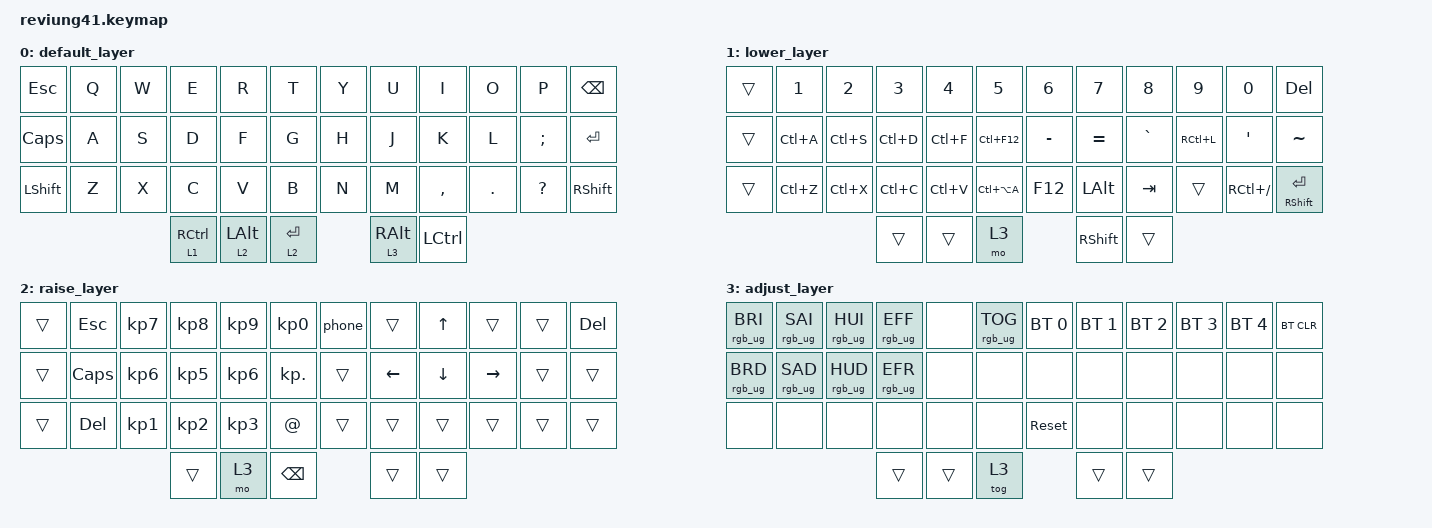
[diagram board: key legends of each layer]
/*
 * Copyright (c) 2020 The ZMK Contributors
 *
 * SPDX-License-Identifier: MIT
 */

#include <behaviors.dtsi>
#include <dt-bindings/zmk/bt.h>
#include <dt-bindings/zmk/keys.h>
#include <dt-bindings/zmk/rgb.h>

/ {
    behaviors {
        tab_esc_ctrl: tab_esc_ctrl {
            compatible = "zmk,behavior-tap-dance";
            label = "TAB_ESC_CTRL";
            #binding-cells = <0>;
            bindings = <&mt LCTRL ESC>, <&kp TAB>;
        };

        ltq: ltq {
            compatible = "zmk,behavior-hold-tap";
            label = "LTQ";
            bindings = <&mo>, <&kp>;

            #binding-cells = <2>;
            global-quick-tap;
            tapping-term-ms = <200>;
            quick-tap-ms = <180>;
        };
    };

    combos {
        compatible = "zmk,combos";

        combo1 {
            bindings = <&kp LBKT>;
            key-positions = <3 4>;
        };

        combo2 {
            bindings = <&kp RBKT>;
            key-positions = <7 8>;
        };

        combo3 {
            bindings = <&kp LEFT_PARENTHESIS>;
            key-positions = <15 16>;
        };

        combo4 {
            bindings = <&kp RIGHT_PARENTHESIS>;
            key-positions = <19 20>;
        };

        combo5 {
            bindings = <&kp LEFT_BRACE>;
            key-positions = <27 28>;
        };

        combo6 {
            bindings = <&kp RIGHT_BRACE>;
            key-positions = <31 32>;
        };

        combo7 {
            bindings = <&kp BACKSLASH>;
            key-positions = <5 6>;
        };

        combo8 {
            bindings = <&kp BACKSLASH>;
            key-positions = <17 18>;
        };
    };

    macros {
        phone: phone {
            compatible = "zmk,behavior-macro";
            label = "PHONE";
            #binding-cells = <0>;
            bindings = <&none &kp N1 &kp N5 &kp N1 &kp N5 &kp N7 &kp N8 &kp N8 &kp N2 &kp N7 &kp N7 &kp N6>;
        };
    };

    keymap {
        compatible = "zmk,keymap";

        default_layer {
            // -------------------------------------------------------------------------------------
            // |  TAB |  Q  |  W  |  E  |  R  |  T  |   |  Y  |  U   |  I  |  O  |  P  |   BKSP    |
            // | CTRL |  A  |  S  |  D  |  F  |  G  |   |  H  |  J   |  K  |  L  |  ;  |    '      |
            // | SHFT |  Z  |  X  |  C  |  V  |  B  |   |  N  |  M   |  ,  |  .  |  /  | SHFT(RET) |
            //                         | ALT | LWR | SPC | RSE  | ALT |

            bindings = <
&kp ESC       &kp Q  &kp W  &kp E        &kp R           &kp T               &kp Y  &kp U             &kp I      &kp O    &kp P         &kp BSPC
&kp CAPSLOCK  &kp A  &kp S  &kp D        &kp F           &kp G               &kp H  &kp J             &kp K      &kp L    &kp SEMI      &kp ENTER
&kp LSHFT     &kp Z  &kp X  &kp C        &kp V           &kp B               &kp N  &kp M             &kp COMMA  &kp DOT  &kp QUESTION  &kp RIGHT_SHIFT
                            &lt 1 RCTRL  &lt 2 LEFT_ALT         &lt 2 ENTER         &ltq 3 RIGHT_ALT  &kp LCTRL
            >;
        };

        lower_layer {
            // ----------------------------------------------------------------------------------
            // |    |  !  |  @  |  #  |  $  |  %  |   |  ^  |  &  |  *  |  (  |  )  |    DEL    |
            // |    |  _  |  +  |  {  |  }  | "|" |   | LFT | DWN |  UP | RGT |  `  |     ~     |
            // |    | ESC | GUI | ALT | CAPS|  "  |   | HOME| END | PGUP| PGDN| PRSC| SHFT(RET) |
            //                       |     |     | RET | ADJ |     |

            bindings = <
&trans  &kp N1     &kp N2     &kp N3     &kp N4     &kp N5                &kp N6     &kp N7           &kp N8     &kp N9     &kp N0         &kp DEL
&trans  &kp LC(A)  &kp LC(S)  &kp LC(D)  &kp LC(F)  &kp LC(F12)           &kp MINUS  &kp EQUAL        &kp GRAVE  &kp RC(L)  &kp SQT        &kp TILDE
&trans  &kp LC(Z)  &kp LC(X)  &kp LC(C)  &kp LC(V)  &kp LC(LA(A))         &kp F12    &kp LEFT_ALT     &kp TAB    &trans     &kp RC(SLASH)  &mt RSHFT RET
                              &trans     &trans                    &mo 3             &kp RIGHT_SHIFT  &trans
            >;
        };

        raise_layer {
            // -----------------------------------------------------------------------------------------
            // |    |  1  |  2  |  3  |  4  |  5  |   |  6  |  7  |  8  |  9  |  0  | DEL |
            // |    |  -  |  =  |  [  |  ]  |  \  |   | F1  | F2  | F3  | F4  | F5  | F6  |
            // |    | ESC | GUI | ALT | CAPS|  "  |   | F7  | F8  | F9  | F10 | F11 | F12 |
            //                       |     | ADJ | BKSP |    |     |

            bindings = <
&trans  &kp ESC     &kp KP_N7  &kp KP_N8  &kp KP_N9  &kp KP_N0              &phone  &trans    &kp UP    &trans     &trans  &kp DEL
&trans  &kp CAPS    &kp KP_N6  &kp KP_N5  &kp KP_N6  &kp KP_DOT             &trans  &kp LEFT  &kp DOWN  &kp RIGHT  &trans  &trans
&trans  &kp DELETE  &kp KP_N1  &kp KP_N2  &kp KP_N3  &kp AT_SIGN            &trans  &trans    &trans    &trans     &trans  &trans
                               &trans     &mo 3                   &kp BSPC          &trans    &trans
            >;
        };

        adjust_layer {
            // -----------------------------------------------------------------------------------------
            // | RGB BRI+ | RGB SAT+ | RGB HUE+ | RGB ANI+ |    | RGB TOG |   |  BT1  | BT2 | BT3 | BT4 | BT5 | BT CLR |
            // | RGB BRI- | RGB SAT- | RGB HUE- | RGB ANI- |    |         |   |       |     |     |     |     |        |
            // |          |          |          |          |    |         |   | RESET |     |     |     |     |        |
            //                                              |     |     |     |     |     |

            bindings = <
&rgb_ug RGB_BRI  &rgb_ug RGB_SAI  &rgb_ug RGB_HUI  &rgb_ug RGB_EFF  &none   &rgb_ug RGB_TOG          &bt BT_SEL 0  &bt BT_SEL 1  &bt BT_SEL 2  &bt BT_SEL 3  &bt BT_SEL 4  &bt BT_CLR
&rgb_ug RGB_BRD  &rgb_ug RGB_SAD  &rgb_ug RGB_HUD  &rgb_ug RGB_EFR  &none   &none                    &none         &none         &none         &none         &none         &none
&none            &none            &none            &none            &none   &none                    &sys_reset    &none         &none         &none         &none         &none
                                                   &trans           &trans                   &tog 3                &trans        &trans
            >;
        };
    };
};
